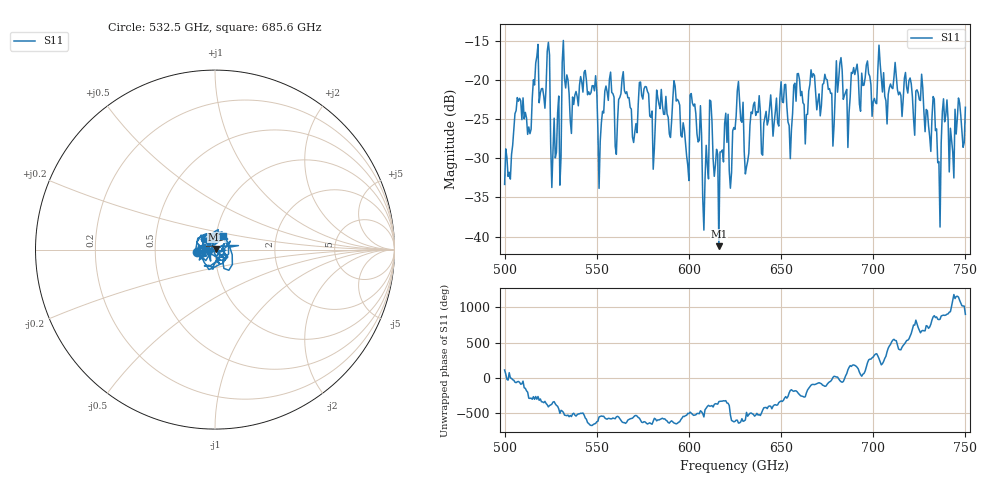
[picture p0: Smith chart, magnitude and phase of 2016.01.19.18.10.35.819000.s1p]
!Created with skrf (http://scikit-rf.org).
# GHz S RI R 50.0
!freq ReS11 ImS11
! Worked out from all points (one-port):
!   401 points, 500 GHz to 750 GHz, reference 50 ohm
!   lowest |S11| = -41.2 dB at 616.2 GHz (marker M1), VSWR 1.02, Z = 50.8 + j0.292 ohm
!   |S11| at or under -10 dB: start of sweep to end of sweep
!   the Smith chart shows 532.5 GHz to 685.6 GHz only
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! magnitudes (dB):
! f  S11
! 500 GHz  -33.3
! 507.5 GHz  -22.7
! 513.1 GHz  -26.0
! 516.9 GHz  -17.9
! 523.1 GHz  -16.4
! 526.2 GHz  -29.1
! 531.2 GHz  -17.8
! 548.8 GHz  -21.4
! 551.9 GHz  -27.9
! 556.2 GHz  -22.6
! 562.5 GHz  -22.3
! 593.8 GHz  -22.5
! 598.8 GHz  -29.7
! 601.9 GHz  -23.0
! 608.8 GHz  -32.6
! 611.9 GHz  -22.7
! 616.2 GHz  -41.2
! 625 GHz  -26.3
! 631.2 GHz  -31.1
! 635 GHz  -23.2
! 656.2 GHz  -24.3
! 687.5 GHz  -22.2
! 718.8 GHz  -21.7
! 733.1 GHz  -22.5
! 735.6 GHz  -30.4
! 738.8 GHz  -25.4
! 742.5 GHz  -27.7
! 750 GHz  -23.5
